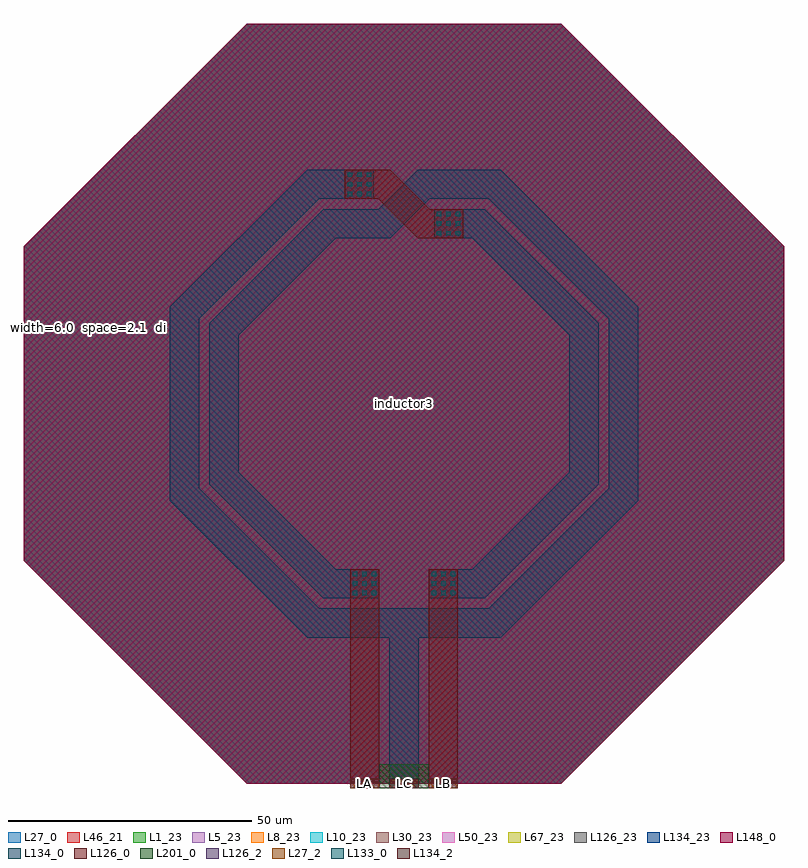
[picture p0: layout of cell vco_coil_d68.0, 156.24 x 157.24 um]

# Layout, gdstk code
import gdstk
lib = gdstk.Library(unit=1e-6, precision=1e-09)
def R(c, l, rs):  # rectangles x0, y0, x1, y1
    for r in rs: c.add(gdstk.rectangle(r[:2], r[2:], *l))
def A(c, l, x, y, w, h, nx, ny, dx, dy):  # array of equal rectangles
    R(c, l, [(x+i*dx, y+j*dy, x+i*dx+w, y+j*dy+h) for i in range(nx) for j in range(ny)])
def P(c, l, *ps):  # polygons
    for p in ps: c.add(gdstk.Polygon(p, *l))
L1_23 = (1, 23)
L5_23 = (5, 23)
L8_23 = (8, 23)
L10_23 = (10, 23)
L27_0 = (27, 0)
L27_2 = (27, 2)
L30_23 = (30, 23)
L46_21 = (46, 21)
L50_23 = (50, 23)
L67_23 = (67, 23)
L126_0 = (126, 0)
L126_2 = (126, 2)
L126_23 = (126, 23)
L133_0 = (133, 0)
L134_0 = (134, 0)
L134_2 = (134, 2)
L134_23 = (134, 23)
L148_0 = (148, 0)
L201_0 = (201, 0)

vco_coil_d68_0 = lib.new_cell('vco_coil_d68.0')
P(vco_coil_d68_0, L1_23, [(-32.355,0),(-78.12,45.765),(-78.12,110.475),(-32.355,156.24),(32.355,156.24),(78.12,110.475),(78.12,45.765),(32.355,0)])
P(vco_coil_d68_0, L5_23, [(-32.355,0),(-78.12,45.765),(-78.12,110.475),(-32.355,156.24),(32.355,156.24),(78.12,110.475),(78.12,45.765),(32.355,0)])
P(vco_coil_d68_0, L8_23, [(-32.355,0),(-78.12,45.765),(-78.12,110.475),(-32.355,156.24),(32.355,156.24),(78.12,110.475),(78.12,45.765),(32.355,0)])
P(vco_coil_d68_0, L10_23, [(-32.355,0),(-78.12,45.765),(-78.12,110.475),(-32.355,156.24),(32.355,156.24),(78.12,110.475),(78.12,45.765),(32.355,0)])
P(vco_coil_d68_0, L27_0, [(-32.355,0),(-78.12,45.765),(-78.12,110.475),(-32.355,156.24),(32.355,156.24),(78.12,110.475),(78.12,45.765),(32.355,0)])
A(vco_coil_d68_0, L27_2, -11.1, -1, 6, 2, 3, 1, 8.1, 0)
P(vco_coil_d68_0, L30_23, [(-32.355,0),(-78.12,45.765),(-78.12,110.475),(-32.355,156.24),(32.355,156.24),(78.12,110.475),(78.12,45.765),(32.355,0)])
P(vco_coil_d68_0, L46_21, [(-32.355,0),(-78.12,45.765),(-78.12,110.475),(-32.355,156.24),(32.355,156.24),(78.12,110.475),(78.12,45.765),(32.355,0)])
P(vco_coil_d68_0, L50_23, [(-32.355,0),(-78.12,45.765),(-78.12,110.475),(-32.355,156.24),(32.355,156.24),(78.12,110.475),(78.12,45.765),(32.355,0)])
P(vco_coil_d68_0, L67_23, [(-32.355,0),(-78.12,45.765),(-78.12,110.475),(-32.355,156.24),(32.355,156.24),(78.12,110.475),(78.12,45.765),(32.355,0)])
P(vco_coil_d68_0, L126_0, [(2.83,112.1),(-5.29,120.22),(-12.18,120.22),(-12.18,126.22),(-2.83,126.22),(5.29,118.1),(12.18,118.1),(12.18,112.1)])
R(vco_coil_d68_0, L126_2, [(-11.1,-1,-5.1,1), (-11.1,-1,-5.1,1), (5.1,-1,11.1,1), (5.1,-1,11.1,1)])
P(vco_coil_d68_0, L126_23, [(-32.355,0),(-78.12,45.765),(-78.12,110.475),(-32.355,156.24),(32.355,156.24),(78.12,110.475),(78.12,45.765),(32.355,0)])
A(vco_coil_d68_0, L133_0, -10.51, 38.69, 0.9, 0.9, 3, 3, 1.96, 1.96)
A(vco_coil_d68_0, L133_0, 5.69, 38.69, 0.9, 0.9, 3, 3, 1.96, 1.96)
A(vco_coil_d68_0, L133_0, 6.77, 112.69, 0.9, 0.9, 3, 3, 1.96, 1.96)
A(vco_coil_d68_0, L133_0, -11.59, 120.79, 0.9, 0.9, 3, 3, 1.96, 1.96)
R(vco_coil_d68_0, L134_0, [(-6.18,30,6.18,36)])
P(vco_coil_d68_0, L134_0, [(5.1,38.1),(5.1,44.1),(14.08,44.1),(34,64.02),(34,92.18),(14.08,112.1),(6.18,112.1),(6.18,118.1),(16.575,118.1),(40,94.675),(40,61.525),(16.575,38.1)],
  [(-16.575,38.1),(-40,61.525),(-40,94.675),(-16.575,118.1),(-6.18,118.1),(-6.18,112.1),(-14.08,112.1),(-34,92.18),(-34,64.02),(-14.08,44.1),(-5.1,44.1),(-5.1,38.1)],
  [(-6.18,112.1),(-6.18,118.1),(-5.29,118.1),(2.83,126.22),(6.18,126.22),(6.18,120.22),(5.32,120.22),(-2.8,112.1)],
  [(6.18,30),(6.18,36),(17.44,36),(42.11,60.67),(42.11,95.55),(17.44,120.22),(6.18,120.22),(6.18,126.22),(19.935,126.22),(48.11,98.045),(48.11,58.175),(19.935,30)],
  [(-19.935,30),(-48.11,58.175),(-48.11,98.045),(-19.935,126.22),(-6.18,126.22),(-6.18,120.22),(-17.44,120.22),(-42.11,95.55),(-42.11,60.67),(-17.44,36),(-6.18,36),(-6.18,30)])
R(vco_coil_d68_0, L134_2, [(-3,-1,3,1), (-3,-1,3,1)])
P(vco_coil_d68_0, L134_23, [(-32.355,0),(-78.12,45.765),(-78.12,110.475),(-32.355,156.24),(32.355,156.24),(78.12,110.475),(78.12,45.765),(32.355,0)])
P(vco_coil_d68_0, L148_0, [(-32.355,0),(-78.12,45.765),(-78.12,110.475),(-32.355,156.24),(32.355,156.24),(78.12,110.475),(78.12,45.765),(32.355,0)])
R(vco_coil_d68_0, L201_0, [(-5.1,-1,5.1,4)])
vco_coil_d68_0.add(gdstk.FlexPath([(0,-1),(0,30)], 6, ends="flush", simple_path=True, layer=134, datatype=0))  # L134_0
vco_coil_d68_0.add(gdstk.FlexPath([(8.1,-1),(8.1,44.1)], 6, ends="flush", simple_path=True, layer=126, datatype=0))  # L126_0
vco_coil_d68_0.add(gdstk.FlexPath([(-8.1,-1),(-8.1,44.1)], 6, ends="flush", simple_path=True, layer=126, datatype=0))  # L126_0
vco_coil_d68_0.add(gdstk.Label('LC', (0,0), layer=27, texttype=25))
vco_coil_d68_0.add(gdstk.Label('LB', (8.1,0), layer=27, texttype=25))
vco_coil_d68_0.add(gdstk.Label('LA', (-8.1,0), layer=27, texttype=25))
vco_coil_d68_0.add(gdstk.Label('inductor3', (0,78.21), layer=63, texttype=0))
vco_coil_d68_0.add(gdstk.Label('  width=6.0\n  space=2.1\n  diameter=68.00\n  turns=2', (-78.12,93.733), layer=63, texttype=0))

lib.write_gds('vco_coil_d68.0.gds')
